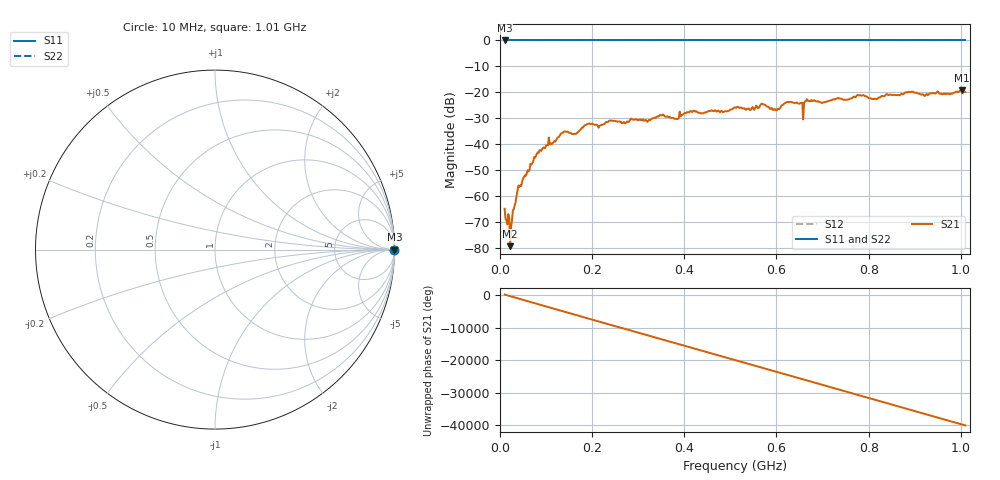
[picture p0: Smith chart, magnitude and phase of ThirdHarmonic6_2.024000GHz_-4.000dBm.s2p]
! 8/17/2025 12:17:23 AM
! C:\ANRITSUVNA\TEMP\TEMP.S2P
! CHANNEL.1
! TR.MEASUREMENT
! RAW.DATA
! RF.CORRECTION.OFF
! AVERAGING.OFF
! IF.BANDWIDTH: 5KHZ
! SWEEPTYPE:  FREQ.SWEEP(Linear)
! Reference Plane Port Info
! PORT:  PORT1  PORT2
! DISTANCE:  0  m  0  m
! TIME:  0  s  0  s
! PHASE.OFFSET:  0  deg.  0  deg.
! LOSS:  0  dB  0  dB
! REF.LOSS:  0  dB  0  dB
! REF.FREQ:  0  Hz  0  Hz
! Power Info
! POWER:  -20  dBm  -20  dBm
! EFF.POWER:  -20  dBm  -20  dBm
! SOURCE.ATTEN:  0  dB  0  dB
! TEST.ATTEN:  0  dB  0  dB
# GHZ S RI R 50.0
! FREQ.GHZ  S11RE  S11IM  S21RE  S21IM  S12RE  S12IM  S22RE  S22IM
!; PortSelection: Port_12
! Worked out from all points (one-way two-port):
!   501 points, 10 MHz to 1.01 GHz, reference 50 ohm
!   highest |S21| = -19.26 dB at 1.002 GHz (marker M1); lowest = -79.2 dB at 22 MHz (marker M2)
!   lowest |S11| = 0.0 dB at 10 MHz (marker M3)
!   |S11| at or under -10 dB: nowhere
!   |S22| runs from 0.0 to 0.0 dB; largest |S21 - S12| = 1.1
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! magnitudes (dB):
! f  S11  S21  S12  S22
! 10 MHz  0.0  -64.8  0.0  0.0
! 18 MHz  0.0  -66.9  0.0  0.0
! 22 MHz  0.0  -79.2  0.0  0.0
! 26 MHz  0.0  -69.3  0.0  0.0
! 32 MHz  0.0  -63.4  0.0  0.0
! 40 MHz  0.0  -55.9  0.0  0.0
! 78 MHz  0.0  -44.5  0.0  0.0
! 136 MHz  0.0  -35.6  0.0  0.0
! 162 MHz  0.0  -35.9  0.0  0.0
! 178 MHz  0.0  -33.6  0.0  0.0
! 344 MHz  0.0  -29.3  0.0  0.0
! 384 MHz  0.0  -30.2  0.0  0.0
! 410 MHz  0.0  -27.7  0.0  0.0
! 510 MHz  0.0  -25.8  0.0  0.0
! 570 MHz  0.0  -24.5  0.0  0.0
! 596 MHz  0.0  -26.4  0.0  0.0
! 624 MHz  0.0  -23.7  0.0  0.0
! 654 MHz  0.0  -24.1  0.0  0.0
! 678 MHz  0.0  -23.3  0.0  0.0
! 844 MHz  0.0  -21.0  0.0  0.0
! 1.002 GHz  0.0  -19.3  0.0  0.0
! 1.01 GHz  0.0  -19.9  0.0  0.0
